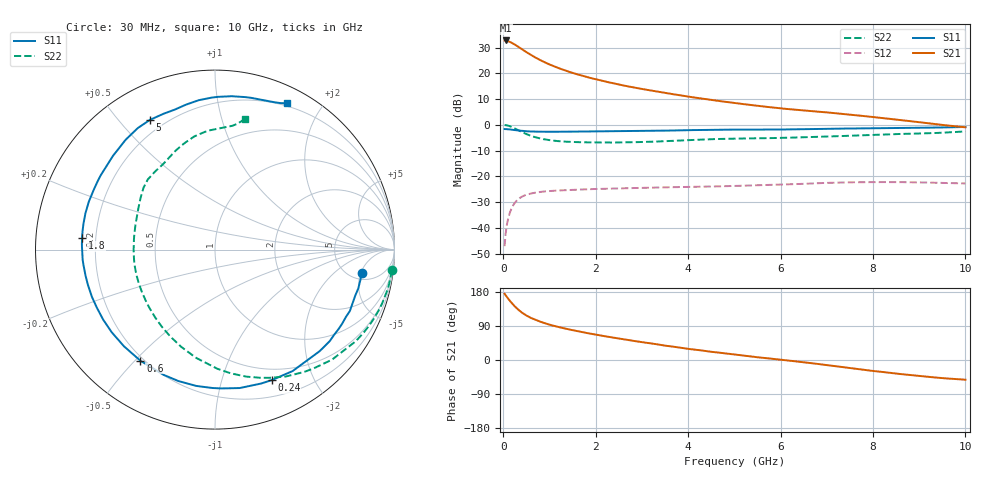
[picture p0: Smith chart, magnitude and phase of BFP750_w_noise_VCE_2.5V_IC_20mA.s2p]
! Infineon Technologies  Discrete & RF Semiconductors
! BFP750
! VCE =  2.5 V,  IC =  20 mA
! Common Emitter S-Parameters:  Jan 2016
# GHz  S  MA  R  50
!  f  S11  S21  S12  S22
! GHz  MAG  ANG  MAG  ANG  MAG  ANG  MAG  ANG
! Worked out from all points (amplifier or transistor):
!   229 points, 30 MHz to 10 GHz, reference 50 ohm
!   highest |S21| = 32.8 dB at 50 MHz (marker M1)
!   |S21| within 3 dB of that: start of sweep to 370.7 MHz
!   unconditionally stable (mu >= 1): 4.818 GHz to end of sweep
!   at 280 MHz: K = 0.11, MSG = 30.3 dB, |S12| = -29.7 dB
!   at 1.78 GHz: K = 0.51, MSG = 21.9 dB, |S12| = -25.1 dB
!   at 10 GHz: K = 1.09, MAG = 9.1 dB, |S12| = -22.8 dB
!   lowest NFmin = 0.73 dB at 450 MHz
!   S11 on the Smith chart (normalised r, x): 30 MHz: 6.29, -5.20; 240 MHz: 0.37, -1.46; 600 MHz: 0.19, -0.52; 1.8 GHz: 0.15, +0.04; 5 GHz: 0.15, +0.61; 10 GHz: 0.17, +1.59
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0.03  0.8284 -9.0  43.46 174.7  0.0044 86.1  0.991 -6.7
0.05  0.8271 -15.2  43.55 170.9  0.0075 82.4  0.9889 -11.3
0.08  0.8257 -24.5  43.01 166.4  0.0116 77.7  0.9778 -18.1
0.15  0.8124 -44.2  40.72 155.2  0.0205 67.9  0.9351 -33.2
0.2  0.8031 -57.4  38.59 147.8  0.0259 61.7  0.8952 -43.2
0.24  0.7928 -66.6  36.73 142.8  0.0296 56.9  0.8592 -50.6
0.3  0.7835 -79.9  34.02 135.5  0.0344 51.0  0.809 -61.0
0.4  0.7667 -97.8  29.63 125.5  0.04 42.8  0.7292 -76.1
0.5  0.7544 -112.3  25.86 117.5  0.0439 36.6  0.6638 -88.9
0.6  0.7457 -123.9  22.73 111.0  0.0465 31.8  0.6127 -99.8
0.8  0.7371 -141.3  18.1 101.0  0.0497 25.1  0.5438 -117.4
1  0.7334 -153.9  14.89 93.3  0.0517 20.6  0.5045 -131.2
1.3  0.7358 -168.0  11.71 84.1  0.0537 16.2  0.4745 -147.0
1.7  0.7421 178.0  9.049 73.9  0.0556 12.2  0.4593 -162.8
1.8  0.744 175.1  8.542 71.5  0.056 11.4  0.4575 -166.0
2.58  0.7524 155.6  5.867 55.0  0.0584 6.5  0.4557 172.0
3.4  0.7678 139.3  4.318 40.0  0.0609 2.5  0.4769 155.0
5  0.8086 116.6  2.658 14.3  0.0651 -3.8  0.5414 133.7
5.1  0.8081 115.4  2.591 13.0  0.0654 -4.2  0.5422 132.5
6.8  0.8309 98.3  1.806 -10.3  0.0734 -11.9  0.5846 113.5
8.4  0.866 78.9  1.296 -34.4  0.0773 -24.3  0.6581 95.0
10  0.9084 63.8  0.895 -52.0  0.0727 -34.1  0.7449 77.2
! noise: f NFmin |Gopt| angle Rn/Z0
0.45  0.73  0.04  -167  3.69
0.9  0.75  0.07  -173  0.54
1.5  0.76  0.1  -175  0.25
1.9  0.78  0.15  -172  0.1
2.4  0.82  0.16  -169  0.11
3.5  1.07  0.25  -145  0.07
